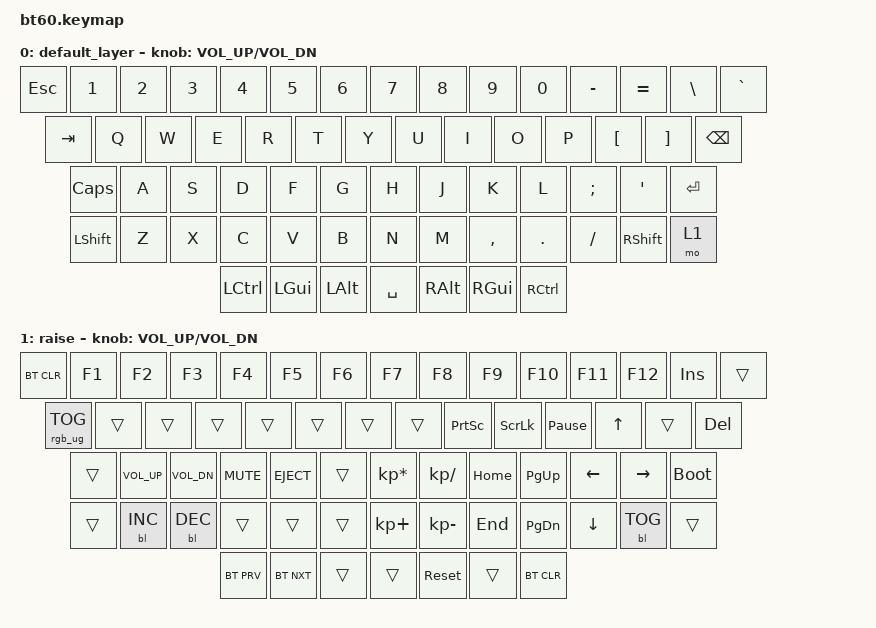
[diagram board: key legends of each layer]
#include <behaviors.dtsi>
#include <dt-bindings/zmk/keys.h>
#include <dt-bindings/zmk/bt.h>
#include <dt-bindings/zmk/rgb.h>
#include <dt-bindings/zmk/backlight.h>

/ {
	keymap {
		compatible = "zmk,keymap";

		default_layer {
				// ------------------------------------------------------------------------------------------
				// |  `  |  1  |  2  |  3  |  4  |  5  |  6  |  7  |  8  |  9  |  0  |  -  |  =  |   BKSP
				// | TAB  |  Q  |  W  |  E  |  R  |  T  |  Y  |  U  |  I  |  O  |  P  |  [  |  ]  |   |
				// | CAPS  |  A  |  S  |  D  |  F  |  G  |  H  |  J  |  K  |  L  |  ;  |  '  |     ENTER
				// |  SHIFT    |  Z  |  X  |  C  |  V  |  B  |  N  |  M  |  ,  |  .  | /   |      SHIFT
				// |  CTL  |  WIN  |  ALT  |            SPACE               | ALT | 1    |  MENU    |  CTRL
				// ------------------------------------------------------------------------------------------
			bindings = <

				&kp ESC &kp N1 &kp N2 &kp N3 &kp N4 &kp N5 &kp N6 &kp N7 &kp  N8   &kp  N9 &kp  N0  &kp MINUS &kp EQUAL &kp BSLH &kp GRAVE
				&kp TAB  &kp Q  &kp W  &kp E  &kp R  &kp T  &kp Y  &kp U  &kp  I    &kp  O  &kp  P   &kp LBKT &kp RBKT   &kp BSPC
				&kp CAPS  &kp A  &kp S  &kp D  &kp F  &kp G  &kp H  &kp J  &kp  K    &kp  L  &kp SEMI &kp SQT            &kp RET
				&kp LSHFT  &kp Z  &kp X  &kp C  &kp V  &kp B  &kp N  &kp M  &kp COMMA &kp DOT &kp FSLH                   &kp RSHFT &mo 1
				&kp LCTRL &kp LGUI &kp LALT            &kp SPACE                                    &kp RALT  &kp RGUI   &kp RCTRL
			>;
			sensor-bindings = <&inc_dec_kp C_VOL_UP C_VOL_DN>;
		};
		raise {
			bindings = <
				&bt BT_CLR &kp F1 &kp F2 &kp F3 &kp F4 &kp F5 &kp F6 &kp F7 &kp F8 &kp F9 &kp F10 &kp F11 &kp F12 &kp INS &trans
				&rgb_ug RGB_TOG &trans &trans &trans &trans &trans &trans &trans &kp PSCRN &kp SLCK &kp PAUSE_BREAK &kp UP  &trans &kp DEL
				&trans &kp C_VOL_UP &kp C_VOL_DN &kp C_MUTE &kp C_EJECT &trans &kp KP_MULTIPLY &kp KP_SLASH &kp HOME &kp PG_UP &kp LEFT &kp RIGHT &bootloader
				&trans &bl BL_INC &bl BL_DEC &trans &trans &trans &kp KP_PLUS &kp KP_MINUS &kp END &kp PG_DN &kp DOWN &bl BL_TOG &trans
				&bt BT_PRV &bt BT_NXT  &trans              &trans                              &sys_reset   &trans &bt BT_CLR
			>;
			sensor-bindings = <&inc_dec_kp C_VOL_UP C_VOL_DN>;
		};
	};
};
